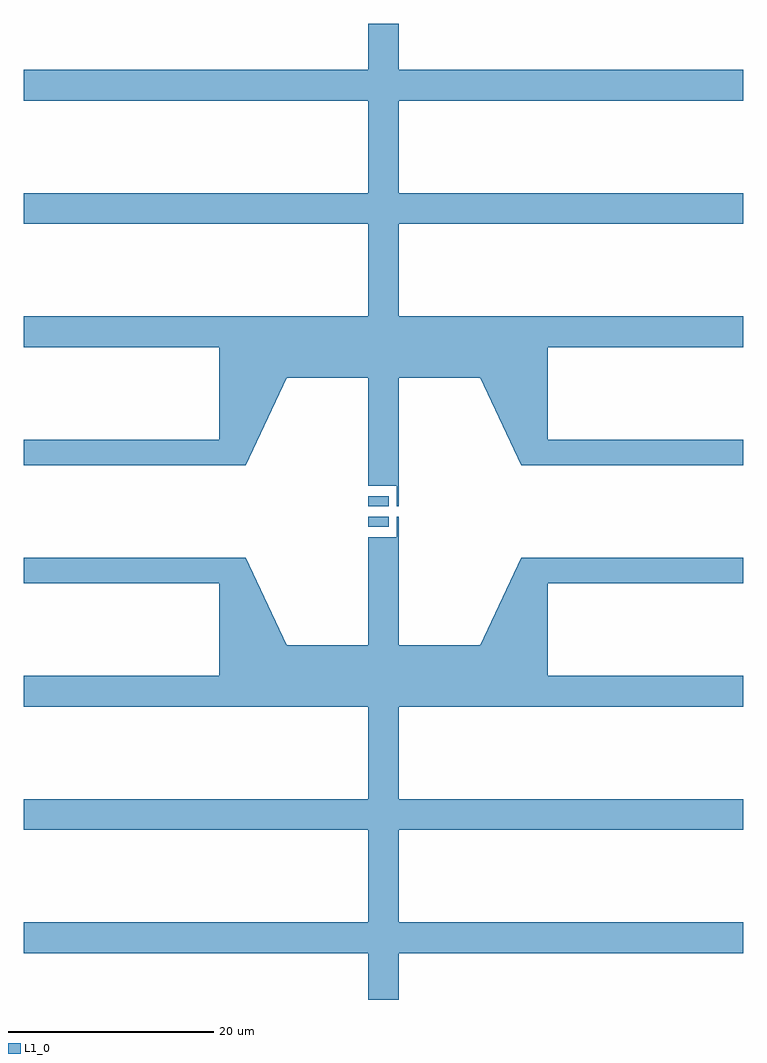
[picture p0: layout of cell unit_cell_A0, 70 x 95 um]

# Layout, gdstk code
from math import pi, radians
import gdstk
lib = gdstk.Library(unit=1e-6, precision=1e-09)
def R(c, l, rs):  # rectangles x0, y0, x1, y1
    for r in rs: c.add(gdstk.rectangle(r[:2], r[2:], *l))
def P(c, l, *ps):  # polygons
    for p in ps: c.add(gdstk.Polygon(p, *l))
L1_0 = (1, 0)

unnamed_545 = lib.new_cell('Unnamed_545')
P(unnamed_545, L1_0, [(33.5,0),(33.5,4.5),(0,4.5),(0,7.5),(33.5,7.5),(33.5,16.5),(0,16.5),(0,19.5),(33.5,19.5),(33.5,28.5),(0,28.5),(0,31.5),(19,31.5),(19,40.5),(0,40.5),(0,43),(21.597,43),(25.596,34.5),(33.5,34.5),(33.5,45),(35,45),(35,0)])

unnamed_546 = lib.new_cell('Unnamed_546')
unnamed_546.add(gdstk.Reference(unnamed_545, (0,0)))

rectangle_s2_1_lwg_cfal_ = lib.new_cell('rectangle_S2_1_LWG_CFal_a0a9c26d')
R(rectangle_s2_1_lwg_cfal_, L1_0, [(0,0,2,1)])

rectangle_s0p2_2_lwg_cf_ = lib.new_cell('rectangle_S0p2_2_LWG_CF_9ef6d549')
R(rectangle_s0p2_2_lwg_cf_, L1_0, [(0,0,0.2,2)])

unnamed_547 = lib.new_cell('Unnamed_547')
unnamed_547.add(gdstk.Reference(rectangle_s2_1_lwg_cfal_, (0,-1.5)))
unnamed_547.add(gdstk.Reference(rectangle_s0p2_2_lwg_cf_, (2.8,-2.5)))

unit_cell_a0 = lib.new_cell('unit_cell_A0')
unit_cell_a0.add(gdstk.Reference(unnamed_546, (0,0)))
unit_cell_a0.add(gdstk.Reference(unnamed_546, (70,0), rotation=pi, x_reflection=True))
unit_cell_a0.add(gdstk.Reference(unnamed_546, (0,95), x_reflection=True))
unit_cell_a0.add(gdstk.Reference(unnamed_546, (70,95), rotation=pi))
unit_cell_a0.add(gdstk.Reference(unnamed_547, (33.5,47.5)))
unit_cell_a0.add(gdstk.Reference(unnamed_547, (33.5,47.5), x_reflection=True))

lib.write_gds('unit_cell_A0.gds')
